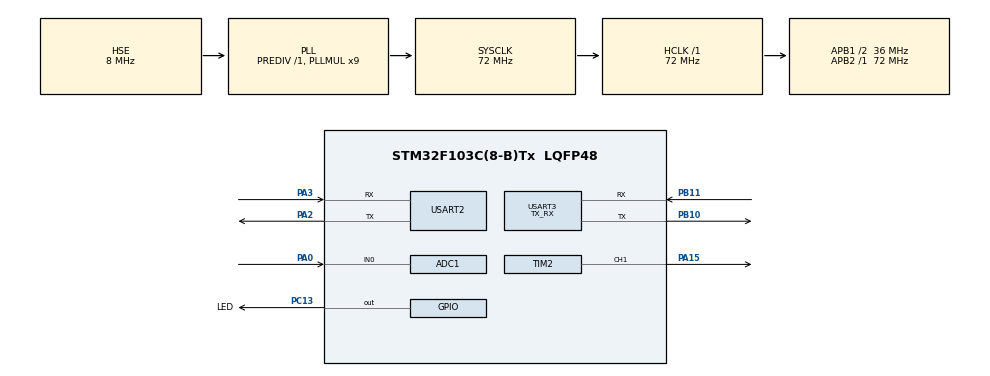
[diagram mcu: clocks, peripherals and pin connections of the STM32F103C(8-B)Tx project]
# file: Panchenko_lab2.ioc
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ADC1.ContinuousConvMode=ENABLE
ADC1.NbrOfConversionFlag=1
ADC1.master=1
Dma.ADC1.1.Direction=DMA_PERIPH_TO_MEMORY
Dma.ADC1.1.Instance=DMA1_Channel1
Dma.ADC1.1.MemDataAlignment=DMA_MDATAALIGN_HALFWORD
Dma.ADC1.1.MemInc=DMA_MINC_ENABLE
Dma.ADC1.1.Mode=DMA_CIRCULAR
Dma.ADC1.1.PeriphDataAlignment=DMA_PDATAALIGN_HALFWORD
Dma.ADC1.1.PeriphInc=DMA_PINC_DISABLE
Dma.ADC1.1.Priority=DMA_PRIORITY_LOW
Dma.Request0=USART2_TX
Dma.Request1=ADC1
Dma.USART2_TX.0.Direction=DMA_MEMORY_TO_PERIPH
Dma.USART2_TX.0.Instance=DMA1_Channel7
Dma.USART2_TX.0.MemDataAlignment=DMA_MDATAALIGN_BYTE
Dma.USART2_TX.0.MemInc=DMA_MINC_ENABLE
Dma.USART2_TX.0.Mode=DMA_CIRCULAR
Dma.USART2_TX.0.PeriphDataAlignment=DMA_PDATAALIGN_BYTE
Dma.USART2_TX.0.PeriphInc=DMA_PINC_DISABLE
Dma.USART2_TX.0.Priority=DMA_PRIORITY_LOW
Mcu.Family=STM32F1
Mcu.Name=STM32F103C(8-B)Tx
Mcu.Package=LQFP48
NVIC.ADC1_2_IRQn=true\:0\:0\:false\:false\:true\:true\:true\:true
NVIC.DMA1_Channel1_IRQn=true\:0\:0\:false\:false\:true\:false\:true\:true
NVIC.DMA1_Channel7_IRQn=true\:0\:0\:false\:false\:true\:false\:true\:true
NVIC.PriorityGroup=NVIC_PRIORITYGROUP_4
NVIC.USART3_IRQn=true\:0\:0\:false\:false\:true\:true\:true\:true
PA0-WKUP.Signal=ADCx_IN0
PA13.Mode=Serial_Wire
PA13.Signal=SYS_JTMS-SWDIO
PA14.Mode=Serial_Wire
PA14.Signal=SYS_JTCK-SWCLK
PA15.Signal=S_TIM2_CH1_ETR
PA2.Mode=Asynchronous
PA2.Signal=USART2_TX
PA3.Mode=Asynchronous
PA3.Signal=USART2_RX
PB10.Mode=Asynchronous
PB10.Signal=USART3_TX
PB11.Mode=Asynchronous
PB11.Signal=USART3_RX
PC13-TAMPER-RTC.GPIO_Label=LED
PC13-TAMPER-RTC.Signal=GPIO_Output
PD0-OSC_IN.Mode=HSE-External-Oscillator
PD0-OSC_IN.Signal=RCC_OSC_IN
PD1-OSC_OUT.Mode=HSE-External-Oscillator
PD1-OSC_OUT.Signal=RCC_OSC_OUT
ProjectManager.HeapSize=0x200
ProjectManager.StackSize=0x400
ProjectManager.TargetToolchain=STM32CubeIDE
RCC.ADCPresc=RCC_ADCPCLK2_DIV6
RCC.AHBFreq_Value=72000000
RCC.APB1CLKDivider=RCC_HCLK_DIV2
RCC.APB1Freq_Value=36000000
RCC.APB1TimFreq_Value=72000000
RCC.APB2Freq_Value=72000000
RCC.APB2TimFreq_Value=72000000
RCC.HCLKFreq_Value=72000000
RCC.PLLMUL=RCC_PLL_MUL9
RCC.PLLSourceVirtual=RCC_PLLSOURCE_HSE
RCC.SYSCLKFreq_VALUE=72000000
RCC.SYSCLKSource=RCC_SYSCLKSOURCE_PLLCLK
RCC.USBFreq_Value=72000000
SH.ADCx_IN0.0=ADC1_IN0,IN0
SH.S_TIM2_CH1_ETR.0=TIM2_CH1,PWM Generation1 CH1
TIM2.Channel-PWM\ Generation1\ CH1=TIM_CHANNEL_1
TIM2.Period=100-1
TIM2.Prescaler=72-1
USART2.VirtualMode=VM_ASYNC
USART3.Mode=MODE_TX_RX
USART3.VirtualMode=VM_ASYNC
VP_TIM2_VS_ClockSourceINT.Mode=Internal
board=custom

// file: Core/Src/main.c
/* USER CODE BEGIN Header */
/**
  ******************************************************************************
  * @file           : main.c
  * @brief          : Main program body
  ******************************************************************************
  * @attention
  *
  * Copyright (c) 2025 STMicroelectronics.
  * All rights reserved.
  *
  * This software is licensed under terms that can be found in the LICENSE file
  * in the root directory of this software component.
  * If no LICENSE file comes with this software, it is provided AS-IS.
  *
  ******************************************************************************
  */
/* USER CODE END Header */
#include "main.h"

/* USER CODE BEGIN Includes */
#include <string.h>
#include <stdio.h>
#include <stdlib.h>

/* USER CODE END Includes */

/* USER CODE BEGIN PD */
#define ADC_BUF_LEN 4096
#define UART_QUEUE_LEN 8
#define UART_LINE_LEN  128
/* USER CODE END PD */

ADC_HandleTypeDef hadc1;
DMA_HandleTypeDef hdma_adc1;

TIM_HandleTypeDef htim2;

UART_HandleTypeDef huart2;
UART_HandleTypeDef huart3;
DMA_HandleTypeDef hdma_usart2_tx;

/* USER CODE BEGIN PV */
uint16_t adc_buf[ADC_BUF_LEN];
char tx_buf[128];
char rx_buffer[64];
uint16_t tx_len = 0;
volatile uint8_t uart_busy = 0;
uint8_t uart3_rx_byte;
char uart_queue[UART_QUEUE_LEN][UART_LINE_LEN];
uint8_t uart_q_head = 0;
uint8_t uart_q_tail = 0;
uint8_t uart_q_count = 0;
char rx_buffer[64];
uint8_t rx_byte;
uint8_t rx_index = 0;

/* USER CODE END PV */

void SystemClock_Config(void);
static void MX_GPIO_Init(void);
static void MX_DMA_Init(void);
static void MX_ADC1_Init(void);
static void MX_USART2_UART_Init(void);
static void MX_USART3_UART_Init(void);
static void MX_TIM2_Init(void);

/* USER CODE BEGIN 0 */
void uart_send_dma(const char* str) {
  if (!uart_busy && uart_q_count == 0) {
    tx_len = strlen(str);
    if (tx_len == 0 || tx_len >= sizeof(tx_buf)) return;
    memcpy(tx_buf, str, tx_len);
    tx_buf[tx_len] = '\0';
    uart_busy = 1;
    HAL_UART_Transmit_DMA(&huart2, (uint8_t*)tx_buf, tx_len);
  }
  else if (uart_q_count < UART_QUEUE_LEN) {
    strncpy(uart_queue[uart_q_tail], str, UART_LINE_LEN - 1);
    uart_queue[uart_q_tail][UART_LINE_LEN - 1] = '\0';
    uart_q_tail = (uart_q_tail + 1) % UART_QUEUE_LEN;
    uart_q_count++;
  }
}

volatile uint8_t pwm_active = 0;
uint32_t pwm_end_time = 0;

void StartLedPWM(uint8_t brightness_percent, uint32_t duration_ms)
{
    if (brightness_percent > 100) brightness_percent = 100;

    GPIO_InitTypeDef GPIO_InitStruct = {0};
    GPIO_InitStruct.Pin = GPIO_PIN_0;
    GPIO_InitStruct.Mode = GPIO_MODE_AF_PP;
    GPIO_InitStruct.Speed = GPIO_SPEED_FREQ_LOW;
    HAL_GPIO_Init(GPIOA, &GPIO_InitStruct);

    HAL_TIM_PWM_Start(&htim2, TIM_CHANNEL_1);
    __HAL_TIM_SET_COMPARE(&htim2, TIM_CHANNEL_1, brightness_percent);

    pwm_active = 1;
    pwm_end_time = HAL_GetTick() + duration_ms;
}

void UpdateLedPWM()
{
    if (pwm_active && HAL_GetTick() >= pwm_end_time)
    {
        HAL_TIM_PWM_Stop(&htim2, TIM_CHANNEL_1);

        GPIO_InitTypeDef GPIO_InitStruct = {0};
        GPIO_InitStruct.Pin = GPIO_PIN_0;
        GPIO_InitStruct.Mode = GPIO_MODE_OUTPUT_PP;
        GPIO_InitStruct.Pull = GPIO_NOPULL;
        GPIO_InitStruct.Speed = GPIO_SPEED_FREQ_LOW;
        HAL_GPIO_Init(GPIOA, &GPIO_InitStruct);

        HAL_GPIO_WritePin(GPIOA, GPIO_PIN_0, GPIO_PIN_RESET);

        pwm_active = 0;
    }
}

/* USER CODE END 0 */

int main(void)
{

  /* MCU Configuration--------------------------------------------------------*/

  /* Reset of all peripherals, Initializes the Flash interface and the Systick. */
  HAL_Init();

  /* Configure the system clock */
  SystemClock_Config();

  /* Initialize all configured peripherals */
  MX_GPIO_Init();
  MX_DMA_Init();
  MX_ADC1_Init();
  MX_USART2_UART_Init();
  MX_USART3_UART_Init();
  MX_TIM2_Init();
  /* USER CODE BEGIN 2 */
  HAL_ADC_Start_DMA(&hadc1, (uint32_t*)adc_buf, ADC_BUF_LEN);
  HAL_UART_Receive_IT(&huart3, &uart3_rx_byte, 1);
  HAL_TIM_PWM_Start(&htim2, TIM_CHANNEL_1);
  /* USER CODE END 2 */

  /* Infinite loop */
  /* USER CODE BEGIN WHILE */
  while (1)
  {
	  UpdateLedPWM();
    /* USER CODE END WHILE */

  }
}

void SystemClock_Config(void)
{
  RCC_OscInitTypeDef RCC_OscInitStruct = {0};
  RCC_ClkInitTypeDef RCC_ClkInitStruct = {0};
  RCC_PeriphCLKInitTypeDef PeriphClkInit = {0};

  /** Initializes the RCC Oscillators according to the specified parameters
  * in the RCC_OscInitTypeDef structure.
  */
  RCC_OscInitStruct.OscillatorType = RCC_OSCILLATORTYPE_HSE;
  RCC_OscInitStruct.HSEState = RCC_HSE_ON;
  RCC_OscInitStruct.HSEPredivValue = RCC_HSE_PREDIV_DIV1;
  RCC_OscInitStruct.HSIState = RCC_HSI_ON;
  RCC_OscInitStruct.PLL.PLLState = RCC_PLL_ON;
  RCC_OscInitStruct.PLL.PLLSource = RCC_PLLSOURCE_HSE;
  RCC_OscInitStruct.PLL.PLLMUL = RCC_PLL_MUL9;
  if (HAL_RCC_OscConfig(&RCC_OscInitStruct) != HAL_OK)
  {
    Error_Handler();
  }

  /** Initializes the CPU, AHB and APB buses clocks
  */
  RCC_ClkInitStruct.ClockType = RCC_CLOCKTYPE_HCLK|RCC_CLOCKTYPE_SYSCLK
                              |RCC_CLOCKTYPE_PCLK1|RCC_CLOCKTYPE_PCLK2;
  RCC_ClkInitStruct.SYSCLKSource = RCC_SYSCLKSOURCE_PLLCLK;
  RCC_ClkInitStruct.AHBCLKDivider = RCC_SYSCLK_DIV1;
  RCC_ClkInitStruct.APB1CLKDivider = RCC_HCLK_DIV2;
  RCC_ClkInitStruct.APB2CLKDivider = RCC_HCLK_DIV1;

  if (HAL_RCC_ClockConfig(&RCC_ClkInitStruct, FLASH_LATENCY_2) != HAL_OK)
  {
    Error_Handler();
  }
  PeriphClkInit.PeriphClockSelection = RCC_PERIPHCLK_ADC;
  PeriphClkInit.AdcClockSelection = RCC_ADCPCLK2_DIV6;
  if (HAL_RCCEx_PeriphCLKConfig(&PeriphClkInit) != HAL_OK)
  {
    Error_Handler();
  }
}

static void MX_ADC1_Init(void)
{

  /** Common config
  */
  hadc1.Instance = ADC1;
  hadc1.Init.ScanConvMode = ADC_SCAN_DISABLE;
  hadc1.Init.ContinuousConvMode = ENABLE;
  hadc1.Init.DiscontinuousConvMode = DISABLE;
  hadc1.Init.ExternalTrigConv = ADC_SOFTWARE_START;
  hadc1.Init.DataAlign = ADC_DATAALIGN_RIGHT;
  hadc1.Init.NbrOfConversion = 1;
  if (HAL_ADC_Init(&hadc1) != HAL_OK)
  {
    Error_Handler();
  }

}

static void MX_TIM2_Init(void)
{

  TIM_ClockConfigTypeDef sClockSourceConfig = {0};
  TIM_MasterConfigTypeDef sMasterConfig = {0};
  TIM_OC_InitTypeDef sConfigOC = {0};

  htim2.Instance = TIM2;
  htim2.Init.Prescaler = 72-1;
  htim2.Init.CounterMode = TIM_COUNTERMODE_UP;
  htim2.Init.Period = 100-1;
  htim2.Init.ClockDivision = TIM_CLOCKDIVISION_DIV1;
  htim2.Init.AutoReloadPreload = TIM_AUTORELOAD_PRELOAD_DISABLE;
  if (HAL_TIM_Base_Init(&htim2) != HAL_OK)
  {
    Error_Handler();
  }
  sClockSourceConfig.ClockSource = TIM_CLOCKSOURCE_INTERNAL;
  if (HAL_TIM_ConfigClockSource(&htim2, &sClockSourceConfig) != HAL_OK)
  {
    Error_Handler();
  }
  if (HAL_TIM_PWM_Init(&htim2) != HAL_OK)
  {
    Error_Handler();
  }
  sMasterConfig.MasterOutputTrigger = TIM_TRGO_RESET;
  sMasterConfig.MasterSlaveMode = TIM_MASTERSLAVEMODE_DISABLE;
  if (HAL_TIMEx_MasterConfigSynchronization(&htim2, &sMasterConfig) != HAL_OK)
  {
    Error_Handler();
  }
  sConfigOC.OCMode = TIM_OCMODE_PWM1;
  sConfigOC.Pulse = 0;
  sConfigOC.OCPolarity = TIM_OCPOLARITY_HIGH;
  sConfigOC.OCFastMode = TIM_OCFAST_DISABLE;
  if (HAL_TIM_PWM_ConfigChannel(&htim2, &sConfigOC, TIM_CHANNEL_1) != HAL_OK)
  {
    Error_Handler();
  }
  HAL_TIM_MspPostInit(&htim2);

}

static void MX_USART2_UART_Init(void)
{

  huart2.Instance = USART2;
  huart2.Init.BaudRate = 115200;
  huart2.Init.WordLength = UART_WORDLENGTH_8B;
  huart2.Init.StopBits = UART_STOPBITS_1;
  huart2.Init.Parity = UART_PARITY_NONE;
  huart2.Init.Mode = UART_MODE_TX_RX;
  huart2.Init.HwFlowCtl = UART_HWCONTROL_NONE;
  huart2.Init.OverSampling = UART_OVERSAMPLING_16;
  if (HAL_UART_Init(&huart2) != HAL_OK)
  {
    Error_Handler();
  }

}

static void MX_USART3_UART_Init(void)
{

  huart3.Instance = USART3;
  huart3.Init.BaudRate = 115200;
  huart3.Init.WordLength = UART_WORDLENGTH_8B;
  huart3.Init.StopBits = UART_STOPBITS_1;
  huart3.Init.Parity = UART_PARITY_NONE;
  huart3.Init.Mode = UART_MODE_TX_RX;
  huart3.Init.HwFlowCtl = UART_HWCONTROL_NONE;
  huart3.Init.OverSampling = UART_OVERSAMPLING_16;
  if (HAL_UART_Init(&huart3) != HAL_OK)
  {
    Error_Handler();
  }

}

static void MX_DMA_Init(void)
{

  /* DMA controller clock enable */
  __HAL_RCC_DMA1_CLK_ENABLE();

  /* DMA interrupt init */
  /* DMA1_Channel1_IRQn interrupt configuration */
  HAL_NVIC_SetPriority(DMA1_Channel1_IRQn, 0, 0);
  HAL_NVIC_EnableIRQ(DMA1_Channel1_IRQn);
  /* DMA1_Channel7_IRQn interrupt configuration */
  HAL_NVIC_SetPriority(DMA1_Channel7_IRQn, 0, 0);
  HAL_NVIC_EnableIRQ(DMA1_Channel7_IRQn);

}

static void MX_GPIO_Init(void)
{
  GPIO_InitTypeDef GPIO_InitStruct = {0};
/* USER CODE BEGIN MX_GPIO_Init_1 */
  // USART3 TX (PB10)
  GPIO_InitStruct.Pin = GPIO_PIN_10;
  GPIO_InitStruct.Mode = GPIO_MODE_AF_PP;
  GPIO_InitStruct.Speed = GPIO_SPEED_FREQ_HIGH;
  HAL_GPIO_Init(GPIOB, &GPIO_InitStruct);

  // USART3 RX (PB11)
  GPIO_InitStruct.Pin = GPIO_PIN_11;
  GPIO_InitStruct.Mode = GPIO_MODE_INPUT;
  GPIO_InitStruct.Pull = GPIO_NOPULL;
  HAL_GPIO_Init(GPIOB, &GPIO_InitStruct);
/* USER CODE END MX_GPIO_Init_1 */

  /* GPIO Ports Clock Enable */
  __HAL_RCC_GPIOC_CLK_ENABLE();
  __HAL_RCC_GPIOD_CLK_ENABLE();
  __HAL_RCC_GPIOA_CLK_ENABLE();
  __HAL_RCC_GPIOB_CLK_ENABLE();

  /*Configure GPIO pin Output Level */
  HAL_GPIO_WritePin(LED_GPIO_Port, LED_Pin, GPIO_PIN_RESET);

  /*Configure GPIO pin : LED_Pin */
  GPIO_InitStruct.Pin = LED_Pin;
  GPIO_InitStruct.Mode = GPIO_MODE_OUTPUT_PP;
  GPIO_InitStruct.Pull = GPIO_NOPULL;
  GPIO_InitStruct.Speed = GPIO_SPEED_FREQ_LOW;
  HAL_GPIO_Init(LED_GPIO_Port, &GPIO_InitStruct);

}

/* USER CODE BEGIN 4 */
// Called when first half of buffer is filled
void HAL_ADC_ConvHalfCpltCallback(ADC_HandleTypeDef* hadc) {

}

// Called when buffer is completely filled
void HAL_ADC_ConvCpltCallback(ADC_HandleTypeDef* hadc) {
	uint32_t sum = 0;
	  if (hadc->Instance == ADC1) {
		  char msg[64];
		  for (int i = 0; i < 64; i++) {
		      sum += adc_buf[(ADC_BUF_LEN - 1) - i];
		  }
		  uint16_t avg = sum / 64;
		  snprintf(msg, sizeof(msg), "ADC_avg = %u\r\n", avg);
		  uart_send_dma(msg);
	  }
}

void HAL_UART_RxCpltCallback(UART_HandleTypeDef *huart) {
	if (huart->Instance == USART3)
	    {
	        if (rx_byte == '\n' || rx_byte == '\r')
	        {
	            rx_buffer[rx_index] = '\0';

	            if (strcmp(rx_buffer, "LED_ON") == 0)
	            {
	                HAL_GPIO_WritePin(GPIOC, GPIO_PIN_13, GPIO_PIN_RESET);
	                char msg[] = "LED is ON\r\n";
	                HAL_UART_Transmit(&huart3, (uint8_t*)msg, strlen(msg), 100);
	            }
	            else if (strcmp(rx_buffer, "LED_OFF") == 0)
	            {
	                HAL_GPIO_WritePin(GPIOC, GPIO_PIN_13, GPIO_PIN_SET);
	                char msg[] = "LED is OFF\r\n";
	                HAL_UART_Transmit(&huart3, (uint8_t*)msg, strlen(msg), 100);
	            }
	            else if (strncmp(rx_buffer, "LED_PWM", 7) == 0)
	            {
	                int b_tmp;
	                uint32_t duration = 0;
	                uint8_t brightness = 0;

	                if (sscanf(rx_buffer, "LED_PWM %d %lu", &b_tmp, &duration) == 2)
	                {
	                    brightness = (uint8_t)b_tmp;

	                    char msg[64];
	                    char percent_str[5];
	                    char duration_str[12];

	                    itoa(brightness, percent_str, 10);
	                    itoa(duration, duration_str, 10);

	                    strcpy(msg, "PWM ");
	                    strcat(msg, percent_str);
	                    strcat(msg, "% for ");
	                    strcat(msg, duration_str);
	                    strcat(msg, " ms\r\n");

	                    HAL_UART_Transmit(&huart3, (uint8_t*)msg, strlen(msg), 100);
	                    StartLedPWM(brightness, duration);
	                }
	                else
	                {
	                    char msg[] = "BAD FORMAT\r\n";
	                    HAL_UART_Transmit(&huart3, (uint8_t*)msg, strlen(msg), 100);
	                }
	            }
	            else
	            {
	                char msg[] = "UNKNOWN\r\n";
	                HAL_UART_Transmit(&huart3, (uint8_t*)msg, strlen(msg), 100);
	            }

	            rx_index = 0;
	            memset(rx_buffer, 0, sizeof(rx_buffer));
	        }
	        else
	        {
	            rx_buffer[rx_index++] = rx_byte;
	            if (rx_index >= sizeof(rx_buffer))
	                rx_index = 0;
	        }

	        HAL_UART_Receive_IT(&huart3, &rx_byte, 1);
	    }
}

void HAL_UART_TxCpltCallback(UART_HandleTypeDef *huart) {
  if (huart == &huart2) {
    if (uart_q_count > 0) {
      strncpy(tx_buf, uart_queue[uart_q_head], UART_LINE_LEN);
      tx_len = strlen(tx_buf);
      uart_q_head = (uart_q_head + 1) % UART_QUEUE_LEN;
      uart_q_count--;

      HAL_UART_Transmit_DMA(&huart3, (uint8_t*)tx_buf, tx_len);
    } else {
      uart_busy = 0;
    }
  }
}

/* USER CODE END 4 */

void Error_Handler(void)
{
  __disable_irq();
  while (1)
  {
  }
}
